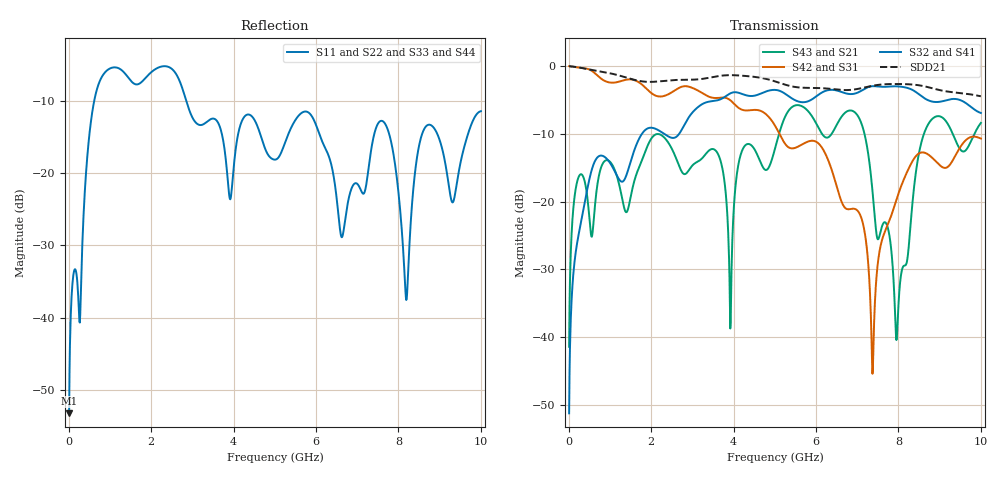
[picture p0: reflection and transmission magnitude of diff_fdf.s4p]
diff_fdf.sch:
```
<Qucs Schematic 0.0.19>
<Properties>
  <View=0,-60,1553,800,0.751315,0,0>
  <Grid=10,10,1>
  <DataSet=diff_fdf.dat>
  <DataDisplay=diff_fdf.dpl>
  <OpenDisplay=1>
  <Script=diff_fdf.m>
  <RunScript=0>
  <showFrame=0>
  <FrameText0=Titre>
  <FrameText1=Auteur :>
  <FrameText2=Date :>
  <FrameText3=Version :>
</Properties>
<Symbol>
</Symbol>
<Components>
  <Pac P2 1 240 310 18 -26 0 1 "2" 1 "50 Ohm" 1 "0 dBm" 0 "1 GHz" 0 "26.85" 0>
  <GND * 1 240 340 0 0 0 0>
  <Pac P1 1 240 170 18 -26 0 1 "1" 1 "50 Ohm" 1 "0 dBm" 0 "1 GHz" 0 "26.85" 0>
  <GND * 1 240 200 0 0 0 0>
  <.SP SP1 1 240 490 0 65 0 0 "lin" 1 "10 MHz" 1 "10 GHz" 1 "1000" 1 "no" 0 "1" 0 "2" 0 "no" 0 "no" 0>
  <SUBST Subst1 1 510 530 -30 24 0 0 "4.413" 1 "1.51 mm" 1 "50 um" 1 "0.0182" 1 "1.712e-8" 1 "0.15e-6" 1>
  <MCOUPLED MS1 1 490 210 -30 88 0 0 "Subst1" 1 "2.05 mm" 1 "30 mm" 1 "1 mm" 1 "Kirschning" 1 "Kirschning" 1 "26.85" 0>
  <MCOUPLED MS2 1 670 210 -30 88 0 0 "Subst1" 1 "2.05 mm" 1 "20 mm" 1 "1 mm" 1 "Kirschning" 1 "Kirschning" 1 "26.85" 0>
  <MCOUPLED MS3 1 850 210 -30 88 0 0 "Subst1" 1 "6.15 mm" 1 "20 mm" 1 "1 mm" 1 "Kirschning" 1 "Kirschning" 1 "26.85" 0>
  <MCOUPLED MS4 1 1030 210 -30 88 0 0 "Subst1" 1 "2.05 mm" 1 "20 mm" 1 "1 mm" 1 "Kirschning" 1 "Kirschning" 1 "26.85" 0>
  <MCOUPLED MS5 1 1210 210 -30 88 0 0 "Subst1" 1 "2.05 mm" 1 "30 mm" 1 "1 mm" 1 "Kirschning" 1 "Kirschning" 1 "26.85" 0>
  <Pac P4 1 1440 310 18 -26 0 1 "4" 1 "50 Ohm" 1 "0 dBm" 0 "1 GHz" 0 "26.85" 0>
  <GND * 1 1440 340 0 0 0 0>
  <Pac P3 1 1440 170 18 -26 0 1 "3" 1 "50 Ohm" 1 "0 dBm" 0 "1 GHz" 0 "26.85" 0>
  <GND * 1 1440 200 0 0 0 0>
</Components>
<Wires>
  <240 140 460 140 "" 0 0 0 "">
  <460 140 460 180 "" 0 0 0 "">
  <460 240 460 280 "" 0 0 0 "">
  <240 280 460 280 "" 0 0 0 "">
  <520 180 640 180 "" 0 0 0 "">
  <700 180 820 180 "" 0 0 0 "">
  <520 240 640 240 "" 0 0 0 "">
  <700 240 820 240 "" 0 0 0 "">
  <1240 140 1240 180 "" 0 0 0 "">
  <1240 140 1440 140 "" 0 0 0 "">
  <1240 240 1240 280 "" 0 0 0 "">
  <1240 280 1440 280 "" 0 0 0 "">
  <880 180 1000 180 "" 0 0 0 "">
  <1060 180 1180 180 "" 0 0 0 "">
  <1060 240 1180 240 "" 0 0 0 "">
  <880 240 1000 240 "" 0 0 0 "">
</Wires>
<Diagrams>
</Diagrams>
<Paintings>
</Paintings>
```
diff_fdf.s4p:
# HZ S RI R 50
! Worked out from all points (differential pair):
!   1000 points, 10 MHz to 10 GHz, reference 50 ohm
!   strongest paths, dB at 10 MHz, 2.51 GHz, 5.01 GHz, 7.51 GHz, 10 GHz:
!     S32: -51.3, -10.6, -3.5, -3.0, -6.9
!     S41: -51.3, -10.6, -3.5, -3.0, -6.9
!     S42: 0.0, -3.8, -8.8, -28.6, -10.7
!     S31: 0.0, -3.8, -8.8, -28.6, -10.7
!     S43: -41.5, -12.3, -12.1, -25.6, -8.4
!     S21: -41.5, -12.3, -12.1, -25.6, -8.4
!   taken as a pair (ports 2,1 in; 4,3 out), SDD21 dB: 0.0, -2.1, -2.3, -2.8, -4.5
!   lowest |S11| = -53.2 dB at 10 MHz (marker M1), VSWR 1.00, Z = 50 + j0.217 ohm
!   |S11| at or under -10 dB: start of sweep to 620 MHz; 2.85 GHz to end of sweep
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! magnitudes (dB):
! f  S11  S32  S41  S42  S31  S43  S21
! 10 MHz  -53.2  -51.3  -51.3  0.0  0.0  -41.5  -41.5
! 970 MHz  -5.7  -14.0  -14.0  -2.4  -2.4  -14.0  -14.0
! 10 GHz  -11.5  -6.9  -6.9  -10.7  -10.7  -8.4  -8.4
